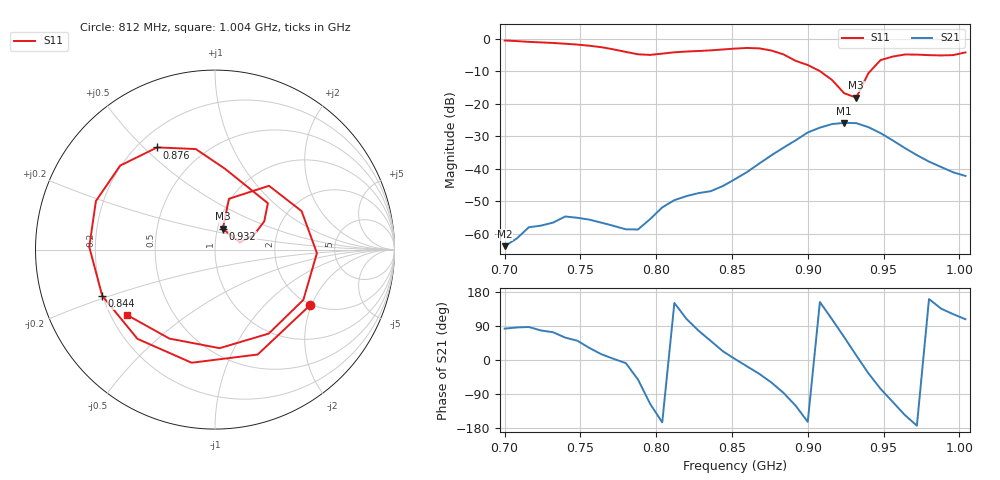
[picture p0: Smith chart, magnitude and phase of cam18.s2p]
# Hz S RI R 50
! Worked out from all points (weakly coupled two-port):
!   39 points, 700 MHz to 1.004 GHz, reference 50 ohm
!   highest |S21| = -25.91 dB at 924 MHz (marker M1); lowest = -63.8 dB at 700 MHz (marker M2)
!   lowest |S11| = -18.2 dB at 932 MHz (marker M3), VSWR 1.28, Z = 53.1 + j12.5 ohm
!   |S11| at or under -10 dB: 908 MHz to 941.3 MHz (33.3 MHz wide, 3.6 % of centre)
!   S12 and S22 are empty: the file has one direction only
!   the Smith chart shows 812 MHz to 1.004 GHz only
!   S11 on the Smith chart (normalised r, x): 812 MHz: 1.98, -1.96; 844 MHz: 0.20, -0.19; 876 MHz: 0.28, +0.55; 932 MHz: 1.06, +0.25; 1.004 GHz: 0.27, -0.31
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7e8  0.7677 0.532  8.1e-05 0.000643  0 0  0 0
7.24e8  0.8306 -0.2652  0.000281 0.00131  0 0  0 0
7.4e8  0.4446 -0.7028  0.000952 0.00159  0 0  0 0
7.56e8  -0.2004 -0.7483  0.00141 0.000867  0 0  0 0
7.72e8  -0.6546 -0.1858  0.00132 6.74e-05  0 0  0 0
7.8e8  -0.5754 0.2376  0.00116 -0.000169  0 0  0 0
7.88e8  -0.2161 0.5302  0.000726 -0.000917  0 0  0 0
7.96e8  0.2641 0.4942  -0.000731 -0.00152  0 0  0 0
8.04e8  0.5711 0.1346  -0.00246 -0.000678  0 0  0 0
8.12e8  0.5316 -0.3077  -0.00287 0.00162  0 0  0 0
8.28e8  -0.1301 -0.6303  0.000936 0.00412  0 0  0 0
8.44e8  -0.6285 -0.2569  0.00499 0.00213  0 0  0 0
8.52e8  -0.7005 0.0147  0.00691 0.000311  0 0  0 0
8.76e8  -0.322 0.5694  0.0082 -0.0138  0 0  0 0
9e8  0.2945 0.2584  -0.0346 -0.0104  0 0  0 0
9.08e8  0.2743 0.1572  -0.0381 0.0194  0 0  0 0
9.24e8  0.1388 0.0404  0.0249 0.0441  0 0  0 0
9.32e8  0.0436 0.1157  0.0491 0.0105  0 0  0 0
9.48e8  0.3009 0.3554  0.00854 -0.0342  0 0  0 0
9.56e8  0.4825 0.2144  -0.0095 -0.0256  0 0  0 0
9.8e8  0.2994 -0.4679  -0.0122 0.00421  0 0  0 0
1.004e9  -0.4923 -0.3631  -0.00236 0.0074  0 0  0 0
